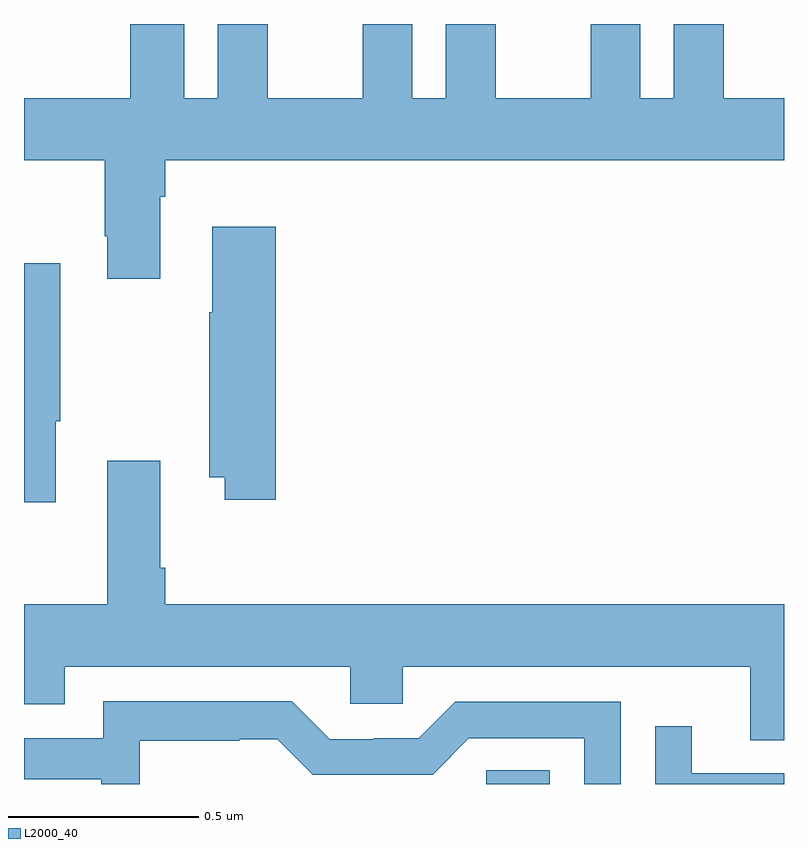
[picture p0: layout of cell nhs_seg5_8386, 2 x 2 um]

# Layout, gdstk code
import gdstk
lib = gdstk.Library(unit=1e-6, precision=1e-09)
def R(c, l, rs):  # rectangles x0, y0, x1, y1
    for r in rs: c.add(gdstk.rectangle(r[:2], r[2:], *l))
def P(c, l, *ps):  # polygons
    for p in ps: c.add(gdstk.Polygon(p, *l))
L2000_40 = (2000, 40)

nhs_seg5_8386 = lib.new_cell('nhs_seg5_8386')
R(nhs_seg5_8386, L2000_40, [(222.216,841.799,222.384,841.835)])
P(nhs_seg5_8386, L2000_40, [(221.359,843.344),(221.372,843.344),(221.372,843.44),(223,843.44),(223,843.604),(222.841,843.604),(222.841,843.799),(222.71,843.799),(222.71,843.604),(222.622,843.604),(222.622,843.799),(222.491,843.799),(222.491,843.604),(222.241,843.604),(222.241,843.799),(222.11,843.799),(222.11,843.604),(222.022,843.604),(222.022,843.799),(221.891,843.799),(221.891,843.604),(221.641,843.604),(221.641,843.799),(221.51,843.799),(221.51,843.604),(221.422,843.604),(221.422,843.799),(221.279,843.799),(221.279,843.604),(221,843.604),(221,843.44),(221.212,843.44),(221.212,843.241),(221.219,843.241),(221.219,843.129),(221.359,843.129)],
  [(221.663,843.265),(221.495,843.265),(221.495,843.041),(221.488,843.041),(221.488,842.606),(221.528,842.606),(221.528,842.547),(221.663,842.547)],
  [(221.083,842.753),(221.095,842.753),(221.095,843.169),(221,843.169),(221,842.541),(221.083,842.541)],
  [(223,842.272),(221.372,842.272),(221.372,842.368),(221.359,842.368),(221.359,842.65),(221.219,842.65),(221.219,842.272),(221,842.272),(221,842.009),(221.107,842.009),(221.107,842.108),(221.859,842.108),(221.859,842.01),(221.997,842.01),(221.997,842.108),(222.911,842.108),(222.911,841.914),(223,841.914)],
  [(221.304,841.913),(221.567,841.913),(221.567,841.917),(221.667,841.917),(221.76,841.824),(222.075,841.824),(222.171,841.92),(222.474,841.92),(222.474,841.799),(222.57,841.799),(222.57,842.016),(222.135,842.016),(222.039,841.92),(221.921,841.92),(221.921,841.917),(221.805,841.917),(221.705,842.017),(221.208,842.017),(221.208,841.92),(221,841.92),(221,841.812),(221.203,841.812),(221.203,841.799),(221.304,841.799)],
  [(223,841.827),(222.757,841.827),(222.757,841.951),(222.661,841.951),(222.661,841.799),(223,841.799)])

lib.write_gds('nhs_seg5_8386.gds')
